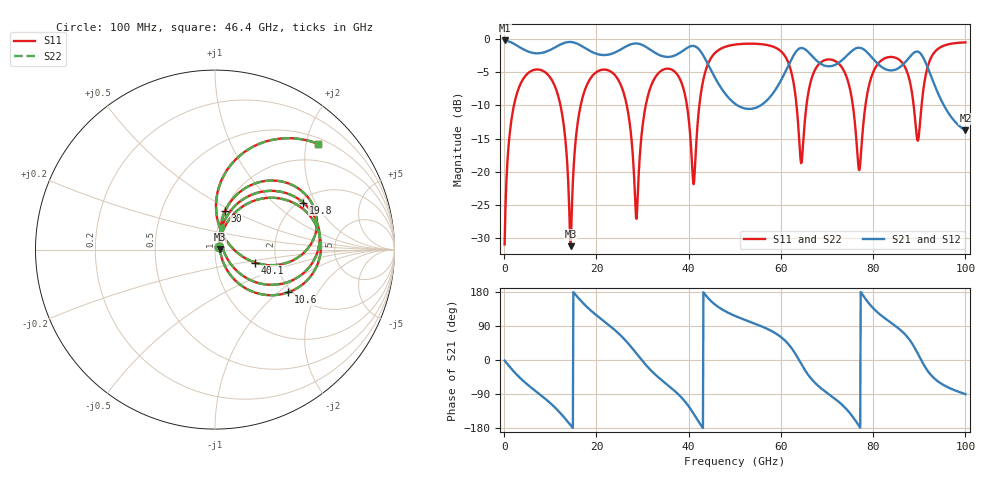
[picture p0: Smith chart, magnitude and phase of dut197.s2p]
! Touchstone file exported from HFSS 2026.1.0
!  File:  C:/ffzhzh/LocalFiles/Ansys_Project_Files/temp_train_TSV_RDL_197_1783657524_33328.aedt
!  Generated:  12:35:20 PM Jul 10, 2026
!  Design:  TSV_RDL
!  Project:  temp_train_TSV_RDL_197_1783657524_33328
! Variables:
!  h_bsmrdl = 3.23um
!  h_ox = 20um
!  h_rdl = 5um
!  h_sub = 61.35um
!  h_tmrdl = 4.27um
!  h_tsv = 61.35um
!  h_via = 3um
!  l_bsmrdl = 630.78um
!  l_sub = 4091.35um
!  l_tmrdl = 421.26um
!  m_sub = 200um
!  pitch = 52.99um
!  r_tsv = 6.67um
!  s_tmrdl = 10um
!  w_bsmrdl = 27.51um
!  w_sub = 500um
!  w_tmrdl = 10.48um
!  x_tsv_center1 = 426.5um
!  x_tsv_center2 = 1084.79um
!  x_tsv_center3 = 1516.53um
!  x_tsv_center4 = 2174.82um
!  x_tsv_center5 = 2606.56um
!  x_tsv_center6 = 3264.85um
# GHz S MA R 50.000000
! Terminal data exported
! Port[1] = TM_RDL1_1_T1
! Port[2] = TM_RDL5_1_T1
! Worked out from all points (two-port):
!   1000 points, 100 MHz to 100 GHz, reference 50 ohm
!   highest |S21| = -0.20 dB at 100 MHz (marker M1); lowest = -13.7 dB at 100 GHz (marker M2)
!   |S21| within 3 dB of the highest: start of sweep to 43.76 GHz; 73.22 GHz to 80.29 GHz (7.076 GHz wide, 9.22 % of centre) (the widest 2 of 4)
!   lowest |S11| = -31.2 dB at 14.4 GHz (marker M3), VSWR 1.06, Z = 52.8 + j0.424 ohm
!   |S11| at or under -10 dB: 12.22 GHz to 16.59 GHz (4.373 GHz wide, 30.4 % of centre); 26.59 GHz to 30.7 GHz (4.105 GHz wide, 14.3 % of centre); 39.63 GHz to 42.32 GHz (2.691 GHz wide, 6.57 % of centre) (the widest 3 of 7)
!   |S22| runs from -31.1 to -0.5 dB; largest |S21 - S12| = 7.2e-14
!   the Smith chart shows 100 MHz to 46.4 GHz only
!   S11 on the Smith chart (normalised r, x): 100 MHz: 1.05, +0.04; 10.6 GHz: 1.91, -1.17; 19.8 GHz: 2.11, +1.60; 30 GHz: 1.02, +0.45; 40.1 GHz: 1.55, -0.24; 46.4 GHz: 0.61, +2.24
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0.1  0.02834 36.3  0.9775 -1.6  0.9775 -1.6  0.02834 36.3
! Gamma 0 0 0 0
! Port Impedance 50 0 50 0
3  0.4118 44.4  0.8847 -41.9  0.8847 -41.9  0.4118 44.4
10.6  0.4731 -30.2  0.8502 -120.5  0.8502 -120.5  0.4731 -30.1
14.4  0.02748 8.4  0.952 -171.9  0.952 -171.9  0.02801 8.4
16.8  0.3409 59.0  0.8878 154.2  0.8878 154.2  0.3409 58.9
19.8  0.5572 28.1  0.7803 120.2  0.7803 120.2  0.5572 28.0
25.8  0.4048 -28.5  0.856 58.2  0.856 58.2  0.4048 -28.5
28.6  0.0448 4.2  0.9279 18.3  0.9279 18.3  0.04493 4.3
30  0.2201 75.3  0.9021 -2.8  0.9021 -2.8  0.2201 75.3
33.4  0.5516 41.9  0.7662 -45.4  0.7662 -45.4  0.5516 41.9
40.1  0.2341 -18.0  0.8752 -123.9  0.8752 -123.9  0.2344 -17.7
41.2  0.08557 52.8  0.8866 -144.1  0.8866 -144.1  0.08686 52.6
46.4  0.8236 45.6  0.4649 140.1  0.4649 140.1  0.8237 45.6
50.1  0.9101 24.0  0.3251 116.1  0.3251 116.1  0.9102 23.9
61.7  0.6531 -41.3  0.6415 40.8  0.6415 40.8  0.6528 -41.3
64.4  0.116 -10.9  0.8576 -10.1  0.8576 -10.1  0.116 -10.7
66.7  0.5108 30.2  0.7494 -51.2  0.7494 -51.2  0.5112 30.3
73.4  0.5991 -25.1  0.7008 -119.7  0.7008 -119.7  0.5994 -25.0
76.9  0.1042 -3.7  0.8618 -173.2  0.8618 -173.2  0.1068 -3.6
83.4  0.7326 11.6  0.5829 102.5  0.5829 102.5  0.7325 11.2
90  0.2015 38.5  0.7952 9.6  0.7952 9.6  0.1897 40.7
100  0.9453 -2.2  0.2055 -90.2  0.2055 -90.2  0.9452 -1.8
